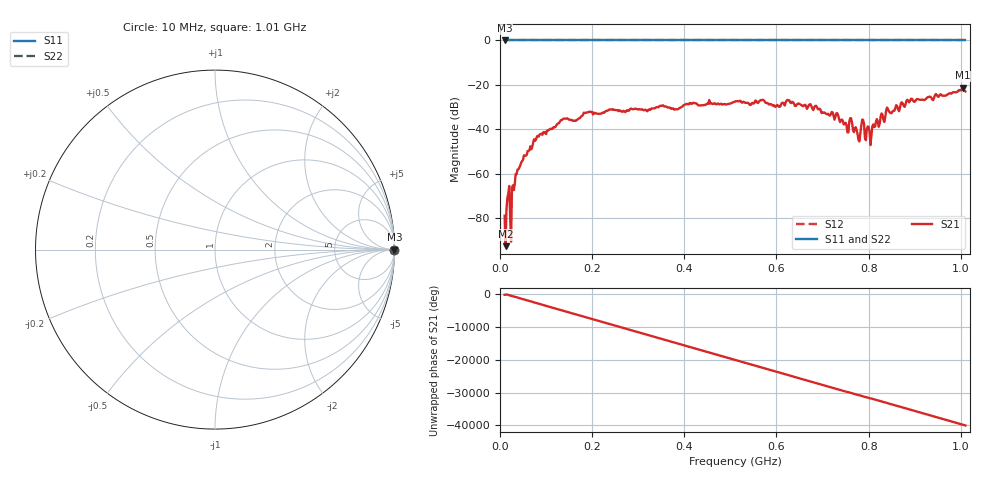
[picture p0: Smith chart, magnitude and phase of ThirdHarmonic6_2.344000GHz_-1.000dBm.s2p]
! 8/17/2025 3:29:13 AM
! C:\ANRITSUVNA\TEMP\TEMP.S2P
! CHANNEL.1
! TR.MEASUREMENT
! RAW.DATA
! RF.CORRECTION.OFF
! AVERAGING.OFF
! IF.BANDWIDTH: 5KHZ
! SWEEPTYPE:  FREQ.SWEEP(Linear)
! Reference Plane Port Info
! PORT:  PORT1  PORT2
! DISTANCE:  0  m  0  m
! TIME:  0  s  0  s
! PHASE.OFFSET:  0  deg.  0  deg.
! LOSS:  0  dB  0  dB
! REF.LOSS:  0  dB  0  dB
! REF.FREQ:  0  Hz  0  Hz
! Power Info
! POWER:  -20  dBm  -20  dBm
! EFF.POWER:  -20  dBm  -20  dBm
! SOURCE.ATTEN:  0  dB  0  dB
! TEST.ATTEN:  0  dB  0  dB
# GHZ S RI R 50.0
! FREQ.GHZ  S11RE  S11IM  S21RE  S21IM  S12RE  S12IM  S22RE  S22IM
!; PortSelection: Port_12
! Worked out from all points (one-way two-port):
!   501 points, 10 MHz to 1.01 GHz, reference 50 ohm
!   highest |S21| = -21.29 dB at 1.004 GHz (marker M1); lowest = -92.7 dB at 12 MHz (marker M2)
!   lowest |S11| = 0.0 dB at 10 MHz (marker M3)
!   |S11| at or under -10 dB: nowhere
!   |S22| runs from 0.0 to 0.0 dB; largest |S21 - S12| = 1.1
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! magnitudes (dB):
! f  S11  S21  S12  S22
! 10 MHz  0.0  -79.0  0.0  0.0
! 12 MHz  0.0  -92.7  0.0  0.0
! 16 MHz  0.0  -70.8  0.0  0.0
! 26 MHz  0.0  -66.7  0.0  0.0
! 30 MHz  0.0  -67.4  0.0  0.0
! 38 MHz  0.0  -58.2  0.0  0.0
! 78 MHz  0.0  -44.8  0.0  0.0
! 136 MHz  0.0  -35.6  0.0  0.0
! 178 MHz  0.0  -34.0  0.0  0.0
! 344 MHz  0.0  -30.1  0.0  0.0
! 510 MHz  0.0  -27.5  0.0  0.0
! 626 MHz  0.0  -26.9  0.0  0.0
! 678 MHz  0.0  -30.8  0.0  0.0
! 732 MHz  0.0  -32.8  0.0  0.0
! 752 MHz  0.0  -38.2  0.0  0.0
! 762 MHz  0.0  -35.0  0.0  0.0
! 778 MHz  0.0  -44.9  0.0  0.0
! 786 MHz  0.0  -35.7  0.0  0.0
! 806 MHz  0.0  -43.2  0.0  0.0
! 844 MHz  0.0  -32.0  0.0  0.0
! 1.004 GHz  0.0  -21.3  0.0  0.0
! 1.01 GHz  0.0  -23.0  0.0  0.0
